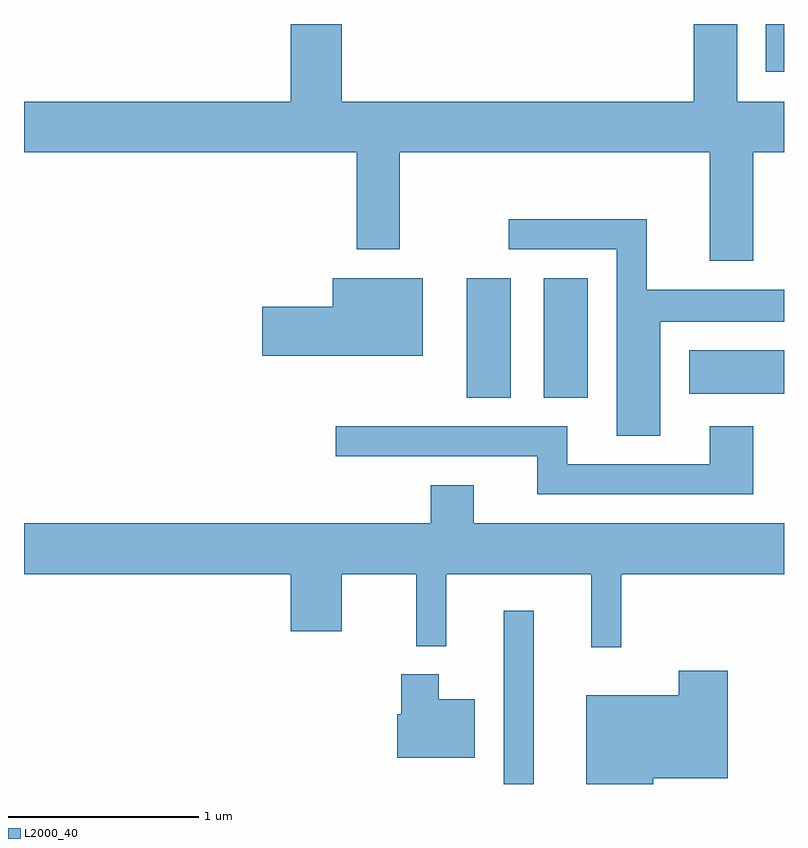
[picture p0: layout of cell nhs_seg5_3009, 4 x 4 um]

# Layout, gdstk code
import gdstk
lib = gdstk.Library(unit=1e-6, precision=1e-09)
def R(c, l, rs):  # rectangles x0, y0, x1, y1
    for r in rs: c.add(gdstk.rectangle(r[:2], r[2:], *l))
def P(c, l, *ps):  # polygons
    for p in ps: c.add(gdstk.Polygon(p, *l))
L2000_40 = (2000, 40)

nhs_seg5_3009 = lib.new_cell('nhs_seg5_3009')
R(nhs_seg5_3009, L2000_40, [(276.136,1520.072,276.294,1520.983), (275.941,1522.106,276.174,1522.734), (276.346,1522.106,276.579,1522.734), (277.111,1522.126,277.611,1522.354), (277.516,1523.821,277.611,1524.072)])
P(nhs_seg5_3009, L2000_40, [(277.449,1523.396),(277.611,1523.396),(277.611,1523.664),(277.364,1523.664),(277.364,1524.072),(277.136,1524.072),(277.136,1523.664),(275.284,1523.664),(275.284,1524.072),(275.016,1524.072),(275.016,1523.664),(273.611,1523.664),(273.611,1523.396),(275.361,1523.396),(275.361,1522.886),(275.589,1522.886),(275.589,1523.396),(277.221,1523.396),(277.221,1522.826),(277.449,1522.826)],
  [(276.959,1522.506),(277.611,1522.506),(277.611,1522.674),(276.889,1522.674),(276.889,1523.044),(276.163,1523.044),(276.163,1522.886),(276.731,1522.886),(276.731,1521.906),(276.959,1521.906)],
  [(275.709,1522.734),(275.236,1522.734),(275.236,1522.584),(274.866,1522.584),(274.866,1522.326),(275.709,1522.326)],
  [(277.449,1521.954),(277.221,1521.954),(277.221,1521.754),(276.469,1521.754),(276.469,1521.954),(275.253,1521.954),(275.253,1521.796),(276.311,1521.796),(276.311,1521.596),(277.449,1521.596)],
  [(276.754,1521.176),(277.611,1521.176),(277.611,1521.444),(275.979,1521.444),(275.979,1521.644),(275.751,1521.644),(275.751,1521.444),(273.611,1521.444),(273.611,1521.176),(275.016,1521.176),(275.016,1520.876),(275.284,1520.876),(275.284,1521.176),(275.676,1521.176),(275.676,1520.798),(275.834,1520.798),(275.834,1521.176),(276.596,1521.176),(276.596,1520.793),(276.754,1520.793)],
  [(276.924,1520.101),(277.314,1520.101),(277.314,1520.669),(277.056,1520.669),(277.056,1520.539),(276.571,1520.539),(276.571,1520.072),(276.924,1520.072)],
  [(275.984,1520.519),(275.794,1520.519),(275.794,1520.649),(275.596,1520.649),(275.596,1520.439),(275.576,1520.439),(275.576,1520.211),(275.984,1520.211)])

lib.write_gds('nhs_seg5_3009.gds')
